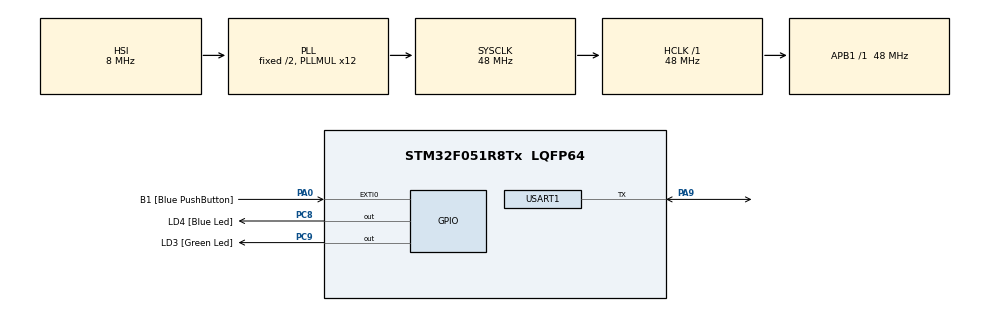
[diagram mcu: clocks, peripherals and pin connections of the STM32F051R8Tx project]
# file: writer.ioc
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Mcu.Family=STM32F0
Mcu.Name=STM32F051R8Tx
Mcu.Package=LQFP64
PA0.GPIO_Label=B1 [Blue PushButton]
PA0.GPIO_ModeDefaultEXTI=GPIO_MODE_EVT_RISING
PA0.Signal=GPXTI0
PA13.GPIO_Label=SWDIO
PA13.Mode=Serial_Wire
PA13.Signal=SYS_SWDIO
PA14.GPIO_Label=SWCLK
PA14.Mode=Serial_Wire
PA14.Signal=SYS_SWCLK
PA9.Mode=Half_duplex(single_wire_mode)
PA9.Signal=USART1_TX
PC8.GPIO_Label=LD4 [Blue Led]
PC8.Signal=GPIO_Output
PC9.GPIO_Label=LD3 [Green Led]
PC9.Signal=GPIO_Output
ProjectManager.HeapSize=0x200
ProjectManager.StackSize=0x400
ProjectManager.TargetToolchain=MDK-ARM V5.32
RCC.AHBFreq_Value=48000000
RCC.APB1Freq_Value=48000000
RCC.APB1TimFreq_Value=48000000
RCC.HCLKFreq_Value=48000000
RCC.PLLMUL=RCC_PLL_MUL12
RCC.SYSCLKFreq_VALUE=48000000
RCC.SYSCLKSource=RCC_SYSCLKSOURCE_PLLCLK
USART1.BaudRate=9600
USART1.VirtualMode-Half_duplex(single_wire_mode)=VM_ASYNC
board=STM32F0DISCOVERY

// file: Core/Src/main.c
/* USER CODE BEGIN Header */
/**
  ******************************************************************************
  * @file           : main.c
  * @brief          : Main program body
  ******************************************************************************
  * @attention
  *
  * Copyright (c) 2023 STMicroelectronics.
  * All rights reserved.
  *
  * This software is licensed under terms that can be found in the LICENSE file
  * in the root directory of this software component.
  * If no LICENSE file comes with this software, it is provided AS-IS.
  *
  ******************************************************************************
  */
/* USER CODE END Header */
#include "main.h"

/* USER CODE BEGIN Includes */
#include <string.h>
/* USER CODE END Includes */

UART_HandleTypeDef huart1;

void SystemClock_Config(void);
static void MX_GPIO_Init(void);
static void MX_USART1_UART_Init(void);

/* USER CODE BEGIN 0 */
#define UART USART1
uint8_t buff[300];
uint8_t GetInfo[] = {0xC0};
uint8_t GetStat0[] = {0xC1, 0};
uint8_t GetStat9[] = {0xC1, 9};
uint8_t ResetStat[] = {0x82};
uint8_t GetParam0[] = {0xC3, 0};
uint8_t GetParam9[] = {0xC3, 9};
uint8_t WriteParam0[] = {0x84, 0,0, 0x01, 0x02, 0x03, 0x04};
uint8_t WriteParam1[] = {0x84, 1,0, 0xAB, 0xCD, 0xEF, 0x56};
uint8_t ResetParam0[] = {0x85, 0};
uint8_t ResetParam1[] = {0x85, 1};
uint8_t GetDump0[] = {0xC6, 0,0};
uint8_t GetDump100[] = {0xC6, 1,0};
uint8_t Reset[] = {0xC7};

static void SendData(const uint8_t* data, uint32_t size)
{
	// enable Tx
	buff[0] = size-1;
	memcpy(buff+1, data, size);
	size++;
	uint8_t xor = 0;
	for (int i=0; i< size; i++)
	{
		xor ^=buff[i];
	}
	buff[size] = xor;
	size++;

	UART->CR1 = USART_CR1_TE | USART_CR1_UE;

	for (int i=0; i<size; i++)
	{
		UART->TDR = buff[i];
		while(!(UART->ISR & USART_ISR_TXE_Msk));
	}

	while(!(UART->ISR & USART_ISR_TC_Msk));

	UART->CR1 = USART_CR1_UE;
}

static uint16_t ReceiveData(uint8_t *data)
{
	UART->CR1 = USART_CR1_RE | USART_CR1_UE;
	while(!(UART->ISR & USART_ISR_RXNE_Msk));
	*data = UART->RDR;

	uint16_t size = *data;
	data++;
	size += 3;	// sizeByte typeByte .. CheckSummByte

	for(int i=1; i<size; i++)
	{
		while(!(UART->ISR & USART_ISR_RXNE_Msk));
		*(data++) = UART->RDR;
	}

	UART->CR1 = USART_CR1_UE;
	return size;
}

/* USER CODE END 0 */

int main(void)
{

  /* MCU Configuration--------------------------------------------------------*/

  /* Reset of all peripherals, Initializes the Flash interface and the Systick. */
  HAL_Init();

  /* Configure the system clock */
  SystemClock_Config();

  /* Initialize all configured peripherals */
  MX_GPIO_Init();
  MX_USART1_UART_Init();

  /* Infinite loop */
  /* USER CODE BEGIN WHILE */
	uint8_t count = 0;
  while (1)
  {
    /* USER CODE END WHILE */

    /* USER CODE BEGIN 3 */
		if ( HAL_GPIO_ReadPin(B1_GPIO_Port, B1_Pin) == GPIO_PIN_SET)
		{
			HAL_GPIO_WritePin(LD4_GPIO_Port, LD4_Pin, GPIO_PIN_SET);
			switch (count)
			{
				case 0:
					SendData(GetInfo, sizeof(GetInfo));
					break;
				case 1:
					SendData(GetStat0, sizeof(GetStat0));
					break;
				case 2:
					SendData(GetStat9, sizeof(GetStat9));
					break;
				case 3:
					SendData(ResetStat, sizeof(ResetStat));
					break;
				case 4:
					SendData(GetParam0, sizeof(GetParam0));
					break;
				case 5:
					SendData(GetParam9, sizeof(GetParam9));
					break;
				case 6:
					SendData(WriteParam0, sizeof(WriteParam0));
					break;
				case 7:
					SendData(WriteParam1, sizeof(WriteParam1));
					break;
				case 8:
					SendData(ResetParam0, sizeof(ResetParam0));
					break;
				case 9:
					SendData(ResetParam1, sizeof(ResetParam1));
					break;
				case 10:
					SendData(GetDump0, sizeof(GetDump0));
					break;
				case 11:
					SendData(GetDump100, sizeof(GetDump100));
					break;
				case 12:
					SendData(Reset, sizeof(Reset));
					break;
				default:
					break;
			}
			count = (count == 12) ? 0  : count+1;
			HAL_Delay(1000);
		}
		HAL_GPIO_WritePin(LD4_GPIO_Port, LD4_Pin, GPIO_PIN_RESET);
  }
  /* USER CODE END 3 */
}

void SystemClock_Config(void)
{
  RCC_OscInitTypeDef RCC_OscInitStruct = {0};
  RCC_ClkInitTypeDef RCC_ClkInitStruct = {0};
  RCC_PeriphCLKInitTypeDef PeriphClkInit = {0};

  /** Initializes the RCC Oscillators according to the specified parameters
  * in the RCC_OscInitTypeDef structure.
  */
  RCC_OscInitStruct.OscillatorType = RCC_OSCILLATORTYPE_HSI;
  RCC_OscInitStruct.HSIState = RCC_HSI_ON;
  RCC_OscInitStruct.HSICalibrationValue = RCC_HSICALIBRATION_DEFAULT;
  RCC_OscInitStruct.PLL.PLLState = RCC_PLL_ON;
  RCC_OscInitStruct.PLL.PLLSource = RCC_PLLSOURCE_HSI;
  RCC_OscInitStruct.PLL.PLLMUL = RCC_PLL_MUL12;
  RCC_OscInitStruct.PLL.PREDIV = RCC_PREDIV_DIV1;
  if (HAL_RCC_OscConfig(&RCC_OscInitStruct) != HAL_OK)
  {
    Error_Handler();
  }

  /** Initializes the CPU, AHB and APB buses clocks
  */
  RCC_ClkInitStruct.ClockType = RCC_CLOCKTYPE_HCLK|RCC_CLOCKTYPE_SYSCLK
                              |RCC_CLOCKTYPE_PCLK1;
  RCC_ClkInitStruct.SYSCLKSource = RCC_SYSCLKSOURCE_PLLCLK;
  RCC_ClkInitStruct.AHBCLKDivider = RCC_SYSCLK_DIV1;
  RCC_ClkInitStruct.APB1CLKDivider = RCC_HCLK_DIV1;

  if (HAL_RCC_ClockConfig(&RCC_ClkInitStruct, FLASH_LATENCY_1) != HAL_OK)
  {
    Error_Handler();
  }
  PeriphClkInit.PeriphClockSelection = RCC_PERIPHCLK_USART1;
  PeriphClkInit.Usart1ClockSelection = RCC_USART1CLKSOURCE_PCLK1;
  if (HAL_RCCEx_PeriphCLKConfig(&PeriphClkInit) != HAL_OK)
  {
    Error_Handler();
  }
}

static void MX_USART1_UART_Init(void)
{

  huart1.Instance = USART1;
  huart1.Init.BaudRate = 9600;
  huart1.Init.WordLength = UART_WORDLENGTH_8B;
  huart1.Init.StopBits = UART_STOPBITS_1;
  huart1.Init.Parity = UART_PARITY_NONE;
  huart1.Init.Mode = UART_MODE_TX_RX;
  huart1.Init.HwFlowCtl = UART_HWCONTROL_NONE;
  huart1.Init.OverSampling = UART_OVERSAMPLING_16;
  huart1.Init.OneBitSampling = UART_ONE_BIT_SAMPLE_DISABLE;
  huart1.AdvancedInit.AdvFeatureInit = UART_ADVFEATURE_NO_INIT;
  if (HAL_HalfDuplex_Init(&huart1) != HAL_OK)
  {
    Error_Handler();
  }

}

static void MX_GPIO_Init(void)
{
  GPIO_InitTypeDef GPIO_InitStruct = {0};

  /* GPIO Ports Clock Enable */
  __HAL_RCC_GPIOA_CLK_ENABLE();
  __HAL_RCC_GPIOC_CLK_ENABLE();

  /*Configure GPIO pin Output Level */
  HAL_GPIO_WritePin(GPIOC, LD4_Pin|LD3_Pin, GPIO_PIN_RESET);

  /*Configure GPIO pin : B1_Pin */
  GPIO_InitStruct.Pin = B1_Pin;
  GPIO_InitStruct.Mode = GPIO_MODE_EVT_RISING;
  GPIO_InitStruct.Pull = GPIO_NOPULL;
  HAL_GPIO_Init(B1_GPIO_Port, &GPIO_InitStruct);

  /*Configure GPIO pins : LD4_Pin LD3_Pin */
  GPIO_InitStruct.Pin = LD4_Pin|LD3_Pin;
  GPIO_InitStruct.Mode = GPIO_MODE_OUTPUT_PP;
  GPIO_InitStruct.Pull = GPIO_NOPULL;
  GPIO_InitStruct.Speed = GPIO_SPEED_FREQ_LOW;
  HAL_GPIO_Init(GPIOC, &GPIO_InitStruct);

}

void Error_Handler(void)
{
  __disable_irq();
  while (1)
  {
  }
}
